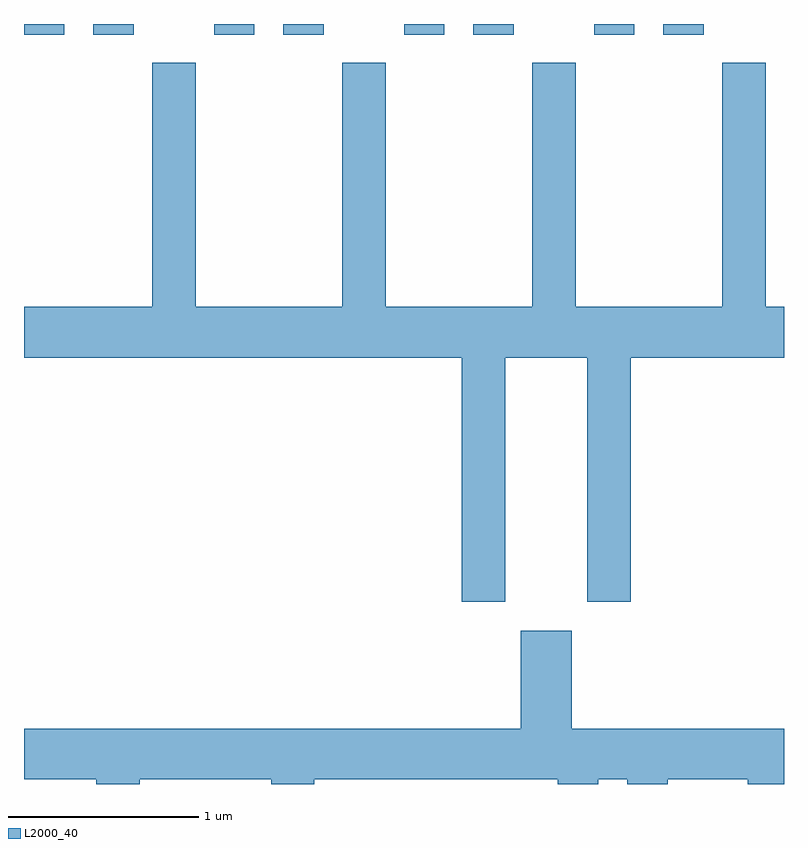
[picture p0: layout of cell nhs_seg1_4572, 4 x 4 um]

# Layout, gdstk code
import gdstk
lib = gdstk.Library(unit=1e-6, precision=1e-09)
def R(c, l, rs):  # rectangles x0, y0, x1, y1
    for r in rs: c.add(gdstk.rectangle(r[:2], r[2:], *l))
def P(c, l, *ps):  # polygons
    for p in ps: c.add(gdstk.Polygon(p, *l))
L2000_40 = (2000, 40)

nhs_seg1_4572 = lib.new_cell('nhs_seg1_4572')
R(nhs_seg1_4572, L2000_40, [(321.611,965.656,321.824,965.712), (321.976,965.656,322.189,965.712), (322.611,965.656,322.824,965.712), (322.976,965.656,323.189,965.712), (323.611,965.656,323.824,965.712), (323.976,965.656,324.189,965.712), (324.611,965.656,324.824,965.712), (324.976,965.656,325.189,965.712)])
P(nhs_seg1_4572, L2000_40, [(324.144,963.956),(324.576,963.956),(324.576,962.671),(324.804,962.671),(324.804,963.956),(325.611,963.956),(325.611,964.224),(325.514,964.224),(325.514,965.509),(325.286,965.509),(325.286,964.224),(324.514,964.224),(324.514,965.509),(324.286,965.509),(324.286,964.224),(323.514,964.224),(323.514,965.509),(323.286,965.509),(323.286,964.224),(322.514,964.224),(322.514,965.509),(322.286,965.509),(322.286,964.224),(321.611,964.224),(321.611,963.956),(323.916,963.956),(323.916,962.671),(324.144,962.671)],
  [(321.611,961.736),(321.991,961.736),(321.991,961.712),(322.219,961.712),(322.219,961.736),(322.911,961.736),(322.911,961.712),(323.139,961.712),(323.139,961.736),(324.421,961.736),(324.421,961.712),(324.634,961.712),(324.634,961.736),(324.786,961.736),(324.786,961.712),(324.999,961.712),(324.999,961.736),(325.421,961.736),(325.421,961.712),(325.611,961.712),(325.611,962.004),(324.494,962.004),(324.494,962.519),(324.226,962.519),(324.226,962.004),(321.611,962.004)])

lib.write_gds('nhs_seg1_4572.gds')
